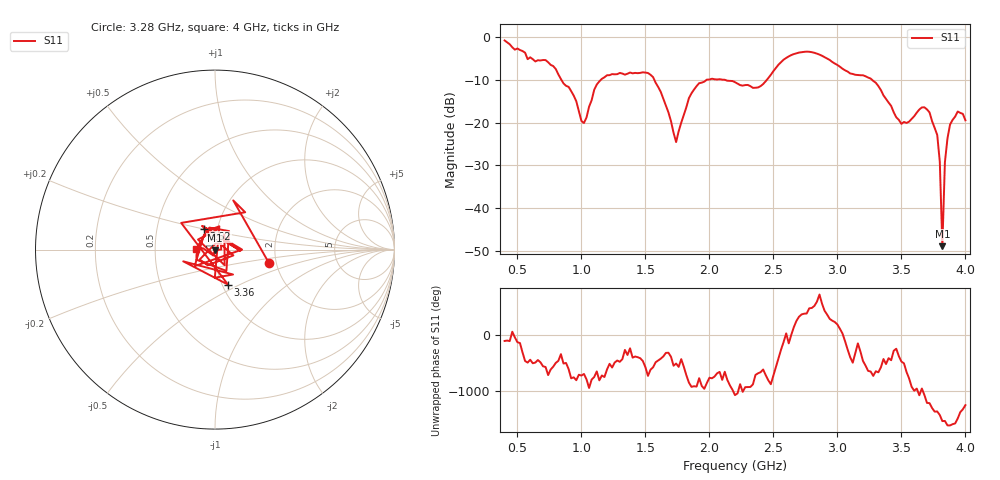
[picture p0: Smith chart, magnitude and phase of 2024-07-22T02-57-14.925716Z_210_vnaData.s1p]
!Created with skrf (http://scikit-rf.org).
# Hz S RI R 50.0
!freq ReS11 ImS11
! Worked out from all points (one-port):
!   181 points, 400 MHz to 4 GHz, reference 50 ohm
!   lowest |S11| = -49.0 dB at 3.82 GHz (marker M1), VSWR 1.01, Z = 49.9 - j0.337 ohm
!   |S11| at or under -10 dB: 1.57 GHz to 1.978 GHz (408 MHz wide, 23 % of centre); 2.122 GHz to 2.449 GHz (327.1 MHz wide, 14.3 % of centre); 3.271 GHz to end of sweep (the widest 3 of 4)
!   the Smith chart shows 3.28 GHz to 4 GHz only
!   S11 on the Smith chart (normalised r, x): 3.28 GHz: 1.82, -0.29; 3.36 GHz: 1.06, -0.43; 3.62 GHz: 0.86, +0.20; 4 GHz: 0.81, +0.00
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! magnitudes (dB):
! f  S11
! 400 MHz  -0.8
! 720 MHz  -5.4
! 860 MHz  -10.8
! 1.02 GHz  -20.1
! 1.12 GHz  -11.1
! 1.3 GHz  -8.4
! 1.56 GHz  -9.4
! 1.74 GHz  -24.6
! 1.76 GHz  -22.0
! 1.84 GHz  -14.3
! 1.92 GHz  -10.8
! 2.2 GHz  -10.5
! 2.38 GHz  -11.8
! 2.66 GHz  -4.0
! 3.1 GHz  -8.5
! 3.28 GHz  -10.2
! 3.36 GHz  -13.6
! 3.5 GHz  -20.3
! 3.56 GHz  -19.8
! 3.62 GHz  -17.7
! 3.7 GHz  -16.9
! 3.78 GHz  -22.9
! 3.8 GHz  -29.2
! 3.82 GHz  -49.0
! 3.84 GHz  -29.3
! 3.86 GHz  -23.7
! 3.94 GHz  -17.4
! 4 GHz  -19.5
